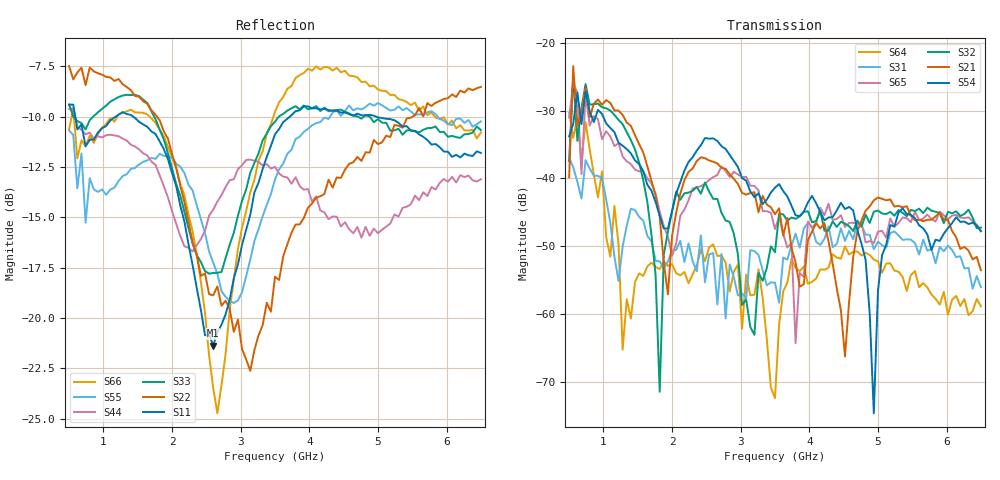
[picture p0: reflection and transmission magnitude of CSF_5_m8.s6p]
!Keysight Technologies,M9804A,MY58100912,A.14.10.03
!Date: Thursday, April 27, 2023 10:28:33
!Correction: S11(C  6-Port  )
!S12(C  6-Port  )
!S13(C  6-Port  )
!S14(C  6-Port  )
!S15(C  6-Port  )
!S16(C  6-Port  )
!S21(C  6-Port  )
!S22(C  6-Port  )
!S23(C  6-Port  )
!S24(C  6-Port  )
!S25(C  6-Port  )
!S26(C  6-Port  )
!S31(C  6-Port  )
!S32(C  6-Port  )
!S33(C  6-Port  )
!S34(C  6-Port  )
!S35(C  6-Port  )
!S36(C  6-Port  )
!S41(C  6-Port  )
!S42(C  6-Port  )
!S43(C  6-Port  )
!S44(C  6-Port  )
!S45(C  6-Port  )
!S46(C  6-Port  )
!S51(C  6-Port  )
!S52(C  6-Port  )
!S53(C  6-Port  )
!S54(C  6-Port  )
!S55(C  6-Port  )
!S56(C  6-Port  )
!S61(C  6-Port  )
!S62(C  6-Port  )
!S63(C  6-Port  )
!S64(C  6-Port  )
!S65(C  6-Port  )
!S66(C  6-Port  )
!S6P File: Measurement: :
# Hz S  RI  R 50
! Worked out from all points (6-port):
!   101 points, 500 MHz to 6.5 GHz, reference 50 ohm
!   strongest paths, dB at 500 MHz, 2 GHz, 3.5 GHz, 5 GHz, 6.5 GHz:
!     S54: -33.8, -44.8, -41.4, -56.7, -47.8
!     S21: -39.9, -48.5, -45.3, -42.8, -53.6
!     S32: -37.4, -44.9, -50.9, -44.8, -47.3
!     S65: -31.0, -51.5, -47.5, -47.9, -47.8
!     S31: -37.0, -50.7, -55.4, -49.3, -56.1
!     S64: -30.3, -52.7, -72.4, -52.3, -58.9
!   lowest |S11| = -21.4 dB at 2.6 GHz (marker M1), VSWR 1.19, Z = 42.4 + j2.2 ohm
!   |S11| at or under -10 dB: 589.5 MHz to 1.174 GHz (584.7 MHz wide, 66.3 % of centre); 1.437 GHz to 3.714 GHz (2.276 GHz wide, 88.4 % of centre); 4.979 GHz to end of sweep
